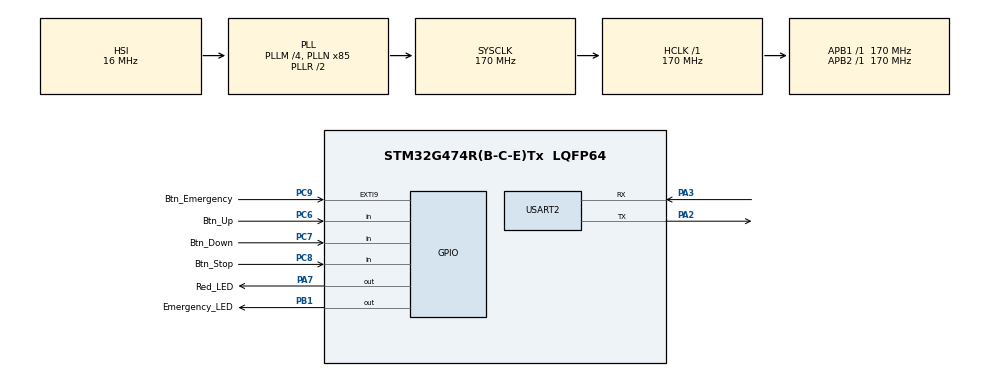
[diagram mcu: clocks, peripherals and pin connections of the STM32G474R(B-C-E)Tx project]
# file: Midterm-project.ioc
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Mcu.Family=STM32G4
Mcu.Name=STM32G474R(B-C-E)Tx
Mcu.Package=LQFP64
NVIC.EXTI9_5_IRQn=true\:0\:0\:false\:false\:true\:true\:true\:true
NVIC.PriorityGroup=NVIC_PRIORITYGROUP_4
NVIC.USART2_IRQn=true\:1\:0\:true\:false\:true\:true\:true\:true
PA13.GPIO_Label=T_SWDIO
PA13.Signal=SYS_JTMS-SWDIO
PA14.GPIO_Label=T_SWCLK
PA14.Signal=SYS_JTCK-SWCLK
PA2.Mode=Asynchronous
PA2.Signal=USART2_TX
PA3.Mode=Asynchronous
PA3.Signal=USART2_RX
PA5.Signal=S_TIM2_CH1
PA6.Signal=S_TIM3_CH1
PA7.GPIO_Label=Red_LED
PA7.Signal=GPIO_Output
PB1.GPIO_Label=Emergency_LED
PB1.Signal=GPIO_Output
PB3.GPIO_Label=T_SWO
PB3.Signal=SYS_JTDO-SWO
PC14-OSC32_IN.GPIO_Label=RCC_OSC32_IN
PC14-OSC32_IN.Signal=RCC_OSC32_IN
PC15-OSC32_OUT.GPIO_Label=RCC_OSC32_OUT
PC15-OSC32_OUT.Signal=RCC_OSC32_OUT
PC6.GPIO_Label=Btn_Up
PC6.GPIO_PuPd=GPIO_PULLUP
PC6.Signal=GPIO_Input
PC7.GPIO_Label=Btn_Down
PC7.GPIO_PuPd=GPIO_PULLUP
PC7.Signal=GPIO_Input
PC8.GPIO_Label=Btn_Stop
PC8.GPIO_PuPd=GPIO_PULLUP
PC8.Signal=GPIO_Input
PC9.GPIO_Label=Btn_Emergency
PC9.GPIO_ModeDefaultEXTI=GPIO_MODE_IT_FALLING
PC9.GPIO_PuPd=GPIO_PULLUP
PC9.Signal=GPXTI9
PF0-OSC_IN.GPIO_Label=RCC_OSC_IN
PF0-OSC_IN.Signal=RCC_OSC_IN
PF1-OSC_OUT.GPIO_Label=RCC_OSC_OUT
PF1-OSC_OUT.Signal=RCC_OSC_OUT
ProjectManager.HeapSize=0x200
ProjectManager.StackSize=0x400
ProjectManager.TargetToolchain=STM32CubeIDE
RCC.ADC12Freq_Value=170000000
RCC.ADC345Freq_Value=170000000
RCC.AHBFreq_Value=170000000
RCC.APB1Freq_Value=170000000
RCC.APB1TimFreq_Value=170000000
RCC.APB2Freq_Value=170000000
RCC.APB2TimFreq_Value=170000000
RCC.CortexFreq_Value=170000000
RCC.EXTERNAL_CLOCK_VALUE=12288000
RCC.HCLKFreq_Value=170000000
RCC.HSE_VALUE=24000000
RCC.HSI48_VALUE=48000000
RCC.HSI_VALUE=16000000
RCC.LSE_VALUE=32768
RCC.PLLM=RCC_PLLM_DIV4
RCC.PLLN=85
RCC.RTCClockSelection=RCC_RTCCLKSOURCE_LSE
RCC.SYSCLKFreq_VALUE=170000000
RCC.SYSCLKSource=RCC_SYSCLKSOURCE_PLLCLK
RCC.USBFreq_Value=170000000
RCC.VCOOutputFreq_Value=340000000
SH.S_TIM2_CH1.0=TIM2_CH1
SH.S_TIM3_CH1.0=TIM3_CH1
TIM2.PeriodNoDither=100-1
TIM2.Prescaler=170-1
TIM3.PeriodNoDither=100-1
TIM3.Prescaler=170-1
USART2.VirtualMode-Asynchronous=VM_ASYNC
VP_SYS_VS_DBSignals.Mode=DisableDeadBatterySignals
VP_TIM2_VS_ClockSourceINT.Mode=Internal
VP_TIM3_VS_ClockSourceINT.Mode=Internal
board=NUCLEO-G474RE

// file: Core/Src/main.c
/* USER CODE BEGIN Header */
/**
  ********************************------------------------------
  * @file           : main.c
  * @brief          : 智慧鐵捲門控制系統 - 硬體 PWM 呼吸燈與 PLC 日誌系統 (含 Btn_Emergency 外部中斷急停)
  ********************************------------------------------
  */
/* USER CODE END Header */
#include "main.h"

/* USER CODE BEGIN Includes */
#include <stdio.h>
#include <string.h>
/* USER CODE END Includes */

TIM_HandleTypeDef htim2;
TIM_HandleTypeDef htim3;

UART_HandleTypeDef huart2;

/* USER CODE BEGIN PV */
uint8_t uart_rx_byte;      // 序列埠單一字元接收緩衝區

// --- 系統狀態與控制變數 ---
volatile uint32_t move_start_time = 0;     // 動作開始時間 (記錄毫秒數，用於 5 秒計時)
volatile uint32_t stop_start_time = 0;     // 暫停紅燈開始亮起時間 (記錄毫秒數，用於 3 秒計時)
volatile uint8_t  shutter_state = 0;       // 系統狀態: 0=待機, 1=綠燈漸亮(上升), 2=黃燈漸亮(下降), 3=緊急閃爍, 4=暫停(紅燈亮3秒)
volatile uint8_t  emergency_flag = 0;      // Btn_Emergency 外部中斷觸發旗標 (安全交給主迴圈處理)

// PWM 亮度變數 (配合 ARR = 100-1，佔空比數值範圍為 0 ~ 99)
int32_t duty = 0;

// 按鈕防彈跳與狀態記錄變數 (僅保留 PC6 ~ PC8 輪詢用)
uint32_t btn_check_tick = 0;
uint8_t last_pc6 = 1, last_pc7 = 1, last_pc8 = 1;
uint32_t blink_tick = 0;
uint8_t  blink_state = 0;

// 操作統計計數器 (PLC 統計功能)
volatile uint32_t total_ops = 0;      // 總操作次數
volatile uint32_t up_ops = 0;        // 上升操作次數
volatile uint32_t down_ops = 0;      // 下降操作次數
volatile uint32_t stop_ops = 0;      // 停止操作次數
volatile uint32_t emergency_ops = 0; // 緊急按鈕觸發次數
/* USER CODE END PV */

void SystemClock_Config(void);
static void MX_GPIO_Init(void);
static void MX_TIM2_Init(void);
static void MX_USART2_UART_Init(void);
static void MX_TIM3_Init(void);

/* USER CODE BEGIN 0 */
/**
  * @brief  外部中斷回調函數 (專門處理 Btn_Emergency 急停按鈕)
  */
void HAL_GPIO_EXTI_Callback(uint16_t GPIO_Pin)
{
    // 檢查是否為 Btn_Emergency (PC9) 觸發的外部中斷
    if (GPIO_Pin == Btn_Emergency_Pin)
    {
        emergency_flag = 1; // 設置觸發旗標，交由主迴圈進行安全處理
    }
}
/* USER CODE END 0 */

int main(void)
{

  /* MCU Configuration--------------------------------------------------------*/

  /* Reset of all peripherals, Initializes the Flash interface and the Systick. */
  HAL_Init();

  /* Configure the system clock */
  SystemClock_Config();

  /* Initialize all configured peripherals */
  MX_GPIO_Init();
  MX_TIM2_Init();
  MX_USART2_UART_Init();
  MX_TIM3_Init();
  /* USER CODE BEGIN 2 */
  // 啟動硬體 PWM 通道：TIM2_CH1 (PA5 綠燈) 與 TIM3_CH1 (PA6 黃燈)
  HAL_TIM_PWM_Start(&htim2, TIM_CHANNEL_1);
  HAL_TIM_PWM_Start(&htim3, TIM_CHANNEL_1);

  // 啟動序列埠接收中斷，準備接收來自電腦的控制指令
  HAL_UART_Receive_IT(&huart2, &uart_rx_byte, 1);

  // 系統啟動時發送歡迎訊息至終端機
  char welcome_buf[120];
  int len = snprintf(welcome_buf, sizeof(welcome_buf), "=== Smart Shutter Hardware PWM & Log System Ready (EXTI) ===\r\n");
  HAL_UART_Transmit(&huart2, (uint8_t*)welcome_buf, len, HAL_MAX_DELAY);
  /* USER CODE END 2 */

  /* Infinite loop */
  while (1)
  {

  }
}

void SystemClock_Config(void)
{
  RCC_OscInitTypeDef RCC_OscInitStruct = {0};
  RCC_ClkInitTypeDef RCC_ClkInitStruct = {0};

  /** Configure the main internal regulator output voltage
  */
  HAL_PWREx_ControlVoltageScaling(PWR_REGULATOR_VOLTAGE_SCALE1_BOOST);

  /** Initializes the RCC Oscillators according to the specified parameters
  * in the RCC_OscInitTypeDef structure.
  */
  RCC_OscInitStruct.OscillatorType = RCC_OSCILLATORTYPE_HSI;
  RCC_OscInitStruct.HSIState = RCC_HSI_ON;
  RCC_OscInitStruct.HSICalibrationValue = RCC_HSICALIBRATION_DEFAULT;
  RCC_OscInitStruct.PLL.PLLState = RCC_PLL_ON;
  RCC_OscInitStruct.PLL.PLLSource = RCC_PLLSOURCE_HSI;
  RCC_OscInitStruct.PLL.PLLM = RCC_PLLM_DIV4;
  RCC_OscInitStruct.PLL.PLLN = 85;
  RCC_OscInitStruct.PLL.PLLP = RCC_PLLP_DIV2;
  RCC_OscInitStruct.PLL.PLLQ = RCC_PLLQ_DIV2;
  RCC_OscInitStruct.PLL.PLLR = RCC_PLLR_DIV2;
  if (HAL_RCC_OscConfig(&RCC_OscInitStruct) != HAL_OK)
  {
    Error_Handler();
  }

  /** Initializes the CPU, AHB and APB buses clocks
  */
  RCC_ClkInitStruct.ClockType = RCC_CLOCKTYPE_HCLK|RCC_CLOCKTYPE_SYSCLK
                              |RCC_CLOCKTYPE_PCLK1|RCC_CLOCKTYPE_PCLK2;
  RCC_ClkInitStruct.SYSCLKSource = RCC_SYSCLKSOURCE_PLLCLK;
  RCC_ClkInitStruct.AHBCLKDivider = RCC_SYSCLK_DIV1;
  RCC_ClkInitStruct.APB1CLKDivider = RCC_HCLK_DIV1;
  RCC_ClkInitStruct.APB2CLKDivider = RCC_HCLK_DIV1;

  if (HAL_RCC_ClockConfig(&RCC_ClkInitStruct, FLASH_LATENCY_4) != HAL_OK)
  {
    Error_Handler();
  }
}

static void MX_TIM2_Init(void)
{

  TIM_ClockConfigTypeDef sClockSourceConfig = {0};
  TIM_MasterConfigTypeDef sMasterConfig = {0};

  htim2.Instance = TIM2;
  htim2.Init.Prescaler = 170-1;
  htim2.Init.CounterMode = TIM_COUNTERMODE_UP;
  htim2.Init.Period = 99;
  htim2.Init.ClockDivision = TIM_CLOCKDIVISION_DIV1;
  htim2.Init.AutoReloadPreload = TIM_AUTORELOAD_PRELOAD_DISABLE;
  if (HAL_TIM_Base_Init(&htim2) != HAL_OK)
  {
    Error_Handler();
  }
  sClockSourceConfig.ClockSource = TIM_CLOCKSOURCE_INTERNAL;
  if (HAL_TIM_ConfigClockSource(&htim2, &sClockSourceConfig) != HAL_OK)
  {
    Error_Handler();
  }
  sMasterConfig.MasterOutputTrigger = TIM_TRGO_RESET;
  sMasterConfig.MasterSlaveMode = TIM_MASTERSLAVEMODE_DISABLE;
  if (HAL_TIMEx_MasterConfigSynchronization(&htim2, &sMasterConfig) != HAL_OK)
  {
    Error_Handler();
  }

}

static void MX_TIM3_Init(void)
{

  TIM_ClockConfigTypeDef sClockSourceConfig = {0};
  TIM_MasterConfigTypeDef sMasterConfig = {0};

  htim3.Instance = TIM3;
  htim3.Init.Prescaler = 170-1;
  htim3.Init.CounterMode = TIM_COUNTERMODE_UP;
  htim3.Init.Period = 99;
  htim3.Init.ClockDivision = TIM_CLOCKDIVISION_DIV1;
  htim3.Init.AutoReloadPreload = TIM_AUTORELOAD_PRELOAD_DISABLE;
  if (HAL_TIM_Base_Init(&htim3) != HAL_OK)
  {
    Error_Handler();
  }
  sClockSourceConfig.ClockSource = TIM_CLOCKSOURCE_INTERNAL;
  if (HAL_TIM_ConfigClockSource(&htim3, &sClockSourceConfig) != HAL_OK)
  {
    Error_Handler();
  }
  sMasterConfig.MasterOutputTrigger = TIM_TRGO_RESET;
  sMasterConfig.MasterSlaveMode = TIM_MASTERSLAVEMODE_DISABLE;
  if (HAL_TIMEx_MasterConfigSynchronization(&htim3, &sMasterConfig) != HAL_OK)
  {
    Error_Handler();
  }

}

static void MX_USART2_UART_Init(void)
{

  huart2.Instance = USART2;
  huart2.Init.BaudRate = 115200;
  huart2.Init.WordLength = UART_WORDLENGTH_8B;
  huart2.Init.StopBits = UART_STOPBITS_1;
  huart2.Init.Parity = UART_PARITY_NONE;
  huart2.Init.Mode = UART_MODE_TX_RX;
  huart2.Init.HwFlowCtl = UART_HWCONTROL_NONE;
  huart2.Init.OverSampling = UART_OVERSAMPLING_16;
  huart2.Init.OneBitSampling = UART_ONE_BIT_SAMPLE_DISABLE;
  huart2.Init.ClockPrescaler = UART_PRESCALER_DIV1;
  huart2.AdvancedInit.AdvFeatureInit = UART_ADVFEATURE_NO_INIT;
  if (HAL_UART_Init(&huart2) != HAL_OK)
  {
    Error_Handler();
  }
  if (HAL_UARTEx_SetTxFifoThreshold(&huart2, UART_TXFIFO_THRESHOLD_1_8) != HAL_OK)
  {
    Error_Handler();
  }
  if (HAL_UARTEx_SetRxFifoThreshold(&huart2, UART_RXFIFO_THRESHOLD_1_8) != HAL_OK)
  {
    Error_Handler();
  }
  if (HAL_UARTEx_DisableFifoMode(&huart2) != HAL_OK)
  {
    Error_Handler();
  }

}

static void MX_GPIO_Init(void)
{
  GPIO_InitTypeDef GPIO_InitStruct = {0};

  /* GPIO Ports Clock Enable */
  __HAL_RCC_GPIOC_CLK_ENABLE();
  __HAL_RCC_GPIOF_CLK_ENABLE();
  __HAL_RCC_GPIOA_CLK_ENABLE();
  __HAL_RCC_GPIOB_CLK_ENABLE();

  /*Configure GPIO pin Output Level */
  HAL_GPIO_WritePin(Red_LED_GPIO_Port, Red_LED_Pin, GPIO_PIN_RESET);

  /*Configure GPIO pin Output Level */
  HAL_GPIO_WritePin(Emergency_LED_GPIO_Port, Emergency_LED_Pin, GPIO_PIN_RESET);

  /*Configure GPIO pin : Red_LED_Pin */
  GPIO_InitStruct.Pin = Red_LED_Pin;
  GPIO_InitStruct.Mode = GPIO_MODE_OUTPUT_PP;
  GPIO_InitStruct.Pull = GPIO_NOPULL;
  GPIO_InitStruct.Speed = GPIO_SPEED_FREQ_LOW;
  HAL_GPIO_Init(Red_LED_GPIO_Port, &GPIO_InitStruct);

  /*Configure GPIO pin : Emergency_LED_Pin */
  GPIO_InitStruct.Pin = Emergency_LED_Pin;
  GPIO_InitStruct.Mode = GPIO_MODE_OUTPUT_PP;
  GPIO_InitStruct.Pull = GPIO_NOPULL;
  GPIO_InitStruct.Speed = GPIO_SPEED_FREQ_LOW;
  HAL_GPIO_Init(Emergency_LED_GPIO_Port, &GPIO_InitStruct);

  /*Configure GPIO pins : Btn_Up_Pin Btn_Down_Pin Btn_Stop_Pin */
  GPIO_InitStruct.Pin = Btn_Up_Pin|Btn_Down_Pin|Btn_Stop_Pin;
  GPIO_InitStruct.Mode = GPIO_MODE_INPUT;
  GPIO_InitStruct.Pull = GPIO_PULLUP;
  HAL_GPIO_Init(GPIOC, &GPIO_InitStruct);

  /*Configure GPIO pin : Btn_Emergency_Pin */
  GPIO_InitStruct.Pin = Btn_Emergency_Pin;
  GPIO_InitStruct.Mode = GPIO_MODE_IT_FALLING;
  GPIO_InitStruct.Pull = GPIO_PULLUP;
  HAL_GPIO_Init(Btn_Emergency_GPIO_Port, &GPIO_InitStruct);

  /* EXTI interrupt init*/
  HAL_NVIC_SetPriority(EXTI9_5_IRQn, 0, 0);
  HAL_NVIC_EnableIRQ(EXTI9_5_IRQn);

}

void Error_Handler(void)
{
  __disable_irq();
  while (1)
  {
  }
}
